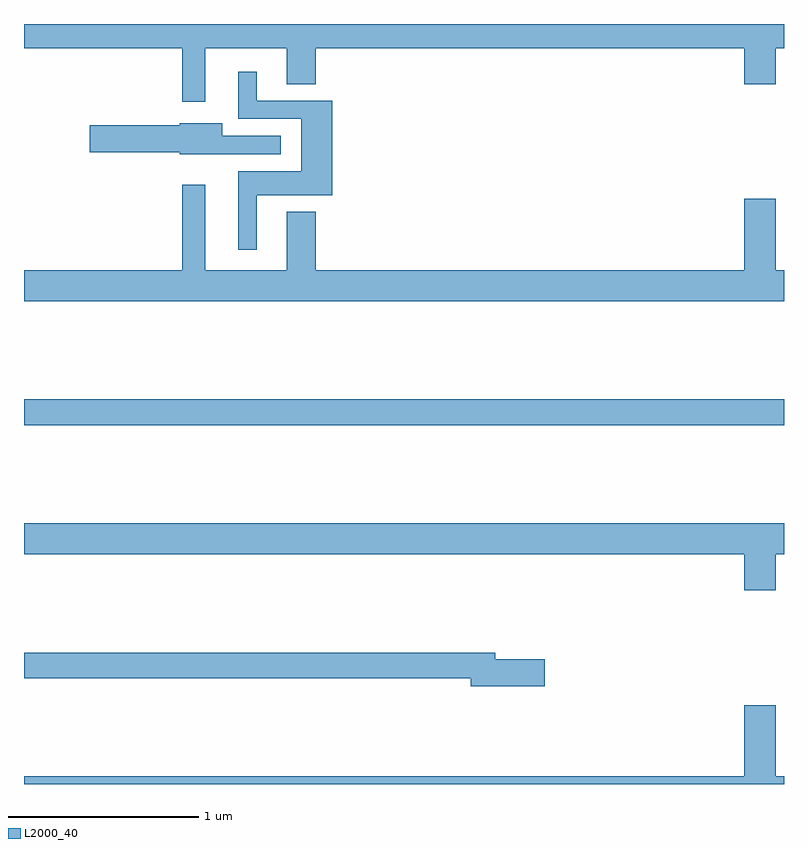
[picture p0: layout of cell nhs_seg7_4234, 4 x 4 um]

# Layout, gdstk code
import gdstk
lib = gdstk.Library(unit=1e-6, precision=1e-09)
def R(c, l, rs):  # rectangles x0, y0, x1, y1
    for r in rs: c.add(gdstk.rectangle(r[:2], r[2:], *l))
def P(c, l, *ps):  # polygons
    for p in ps: c.add(gdstk.Polygon(p, *l))
L2000_40 = (2000, 40)

nhs_seg7_4234 = lib.new_cell('nhs_seg7_4234')
R(nhs_seg7_4234, L2000_40, [(377,1075.888,381,1076.024)])
P(nhs_seg7_4234, L2000_40, [(377.953,1077.872),(378.383,1077.872),(378.383,1077.682),(378.536,1077.682),(378.536,1077.872),(380.792,1077.872),(380.792,1077.684),(380.956,1077.684),(380.956,1077.872),(381,1077.872),(381,1078),(377,1078),(377,1077.872),(377.832,1077.872),(377.832,1077.591),(377.953,1077.591)],
  [(378.226,1077.098),(378.622,1077.098),(378.622,1077.597),(378.226,1077.597),(378.226,1077.748),(378.128,1077.748),(378.128,1077.501),(378.458,1077.501),(378.458,1077.226),(378.128,1077.226),(378.128,1076.811),(378.226,1076.811)],
  [(378.039,1077.315),(378.352,1077.315),(378.352,1077.411),(378.043,1077.411),(378.043,1077.478),(377.82,1077.478),(377.82,1077.468),(377.346,1077.468),(377.346,1077.326),(377.82,1077.326),(377.82,1077.314),(378.039,1077.314)],
  [(381,1076.704),(380.956,1076.704),(380.956,1077.079),(380.792,1077.079),(380.792,1076.704),(378.536,1076.704),(378.536,1077.013),(378.383,1077.013),(378.383,1076.704),(377.953,1076.704),(377.953,1077.154),(377.832,1077.154),(377.832,1076.704),(377,1076.704),(377,1076.54),(381,1076.54)],
  [(380.956,1075.208),(381,1075.208),(381,1075.372),(377,1075.372),(377,1075.208),(380.792,1075.208),(380.792,1075.02),(380.956,1075.02)],
  [(379.741,1074.656),(379.48,1074.656),(379.48,1074.692),(377,1074.692),(377,1074.556),(379.352,1074.556),(379.352,1074.514),(379.741,1074.514)],
  [(381,1074.04),(380.956,1074.04),(380.956,1074.415),(380.792,1074.415),(380.792,1074.04),(377,1074.04),(377,1074),(381,1074)])

lib.write_gds('nhs_seg7_4234.gds')
